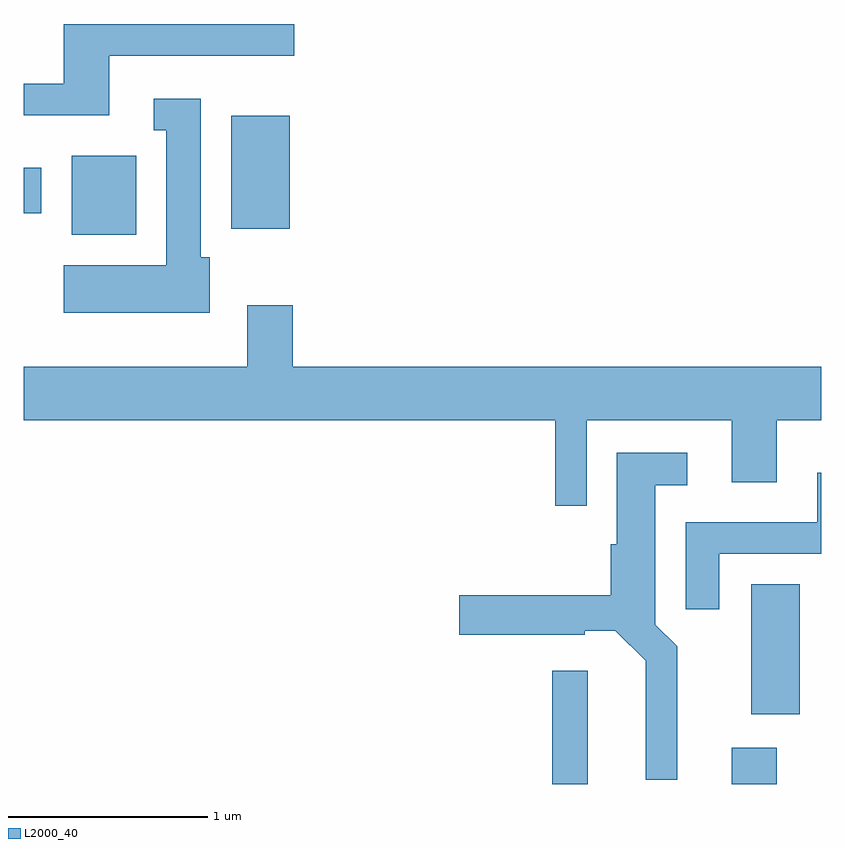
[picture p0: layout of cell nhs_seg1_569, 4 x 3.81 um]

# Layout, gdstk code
import gdstk
lib = gdstk.Library(unit=1e-6, precision=1e-09)
def R(c, l, rs):  # rectangles x0, y0, x1, y1
    for r in rs: c.add(gdstk.rectangle(r[:2], r[2:], *l))
def P(c, l, *ps):  # polygons
    for p in ps: c.add(gdstk.Polygon(p, *l))
L2000_40 = (2000, 40)

nhs_seg1_569 = lib.new_cell('nhs_seg1_569')
R(nhs_seg1_569, L2000_40, [(204.261,937.712,204.439,938.279), (205.161,937.712,205.389,937.894), (205.261,938.061,205.504,938.714), (201.851,940.466,202.174,940.864), (202.651,940.496,202.944,941.064), (201.611,940.576,201.699,940.804)])
P(nhs_seg1_569, L2000_40, [(202.039,941.366),(202.968,941.366),(202.968,941.524),(201.811,941.524),(201.811,941.224),(201.611,941.224),(201.611,941.066),(202.039,941.066)],
  [(202.544,940.354),(202.499,940.354),(202.499,941.149),(202.263,941.149),(202.263,940.991),(202.326,940.991),(202.326,940.314),(201.811,940.314),(201.811,940.076),(202.544,940.076)],
  [(204.434,939.536),(205.161,939.536),(205.161,939.226),(205.389,939.226),(205.389,939.536),(205.611,939.536),(205.611,939.804),(202.959,939.804),(202.959,940.114),(202.731,940.114),(202.731,939.804),(201.611,939.804),(201.611,939.536),(204.276,939.536),(204.276,939.108),(204.434,939.108)],
  [(204.889,938.402),(204.779,938.512),(204.779,939.211),(204.938,939.211),(204.938,939.374),(204.586,939.374),(204.586,938.914),(204.556,938.914),(204.556,938.659),(203.796,938.659),(203.796,938.461),(204.424,938.461),(204.424,938.481),(204.579,938.481),(204.731,938.329),(204.731,937.733),(204.889,937.733)],
  [(205.099,938.866),(205.611,938.866),(205.611,939.274),(205.591,939.274),(205.591,939.024),(204.931,939.024),(204.931,938.588),(205.099,938.588)])

lib.write_gds('nhs_seg1_569.gds')
